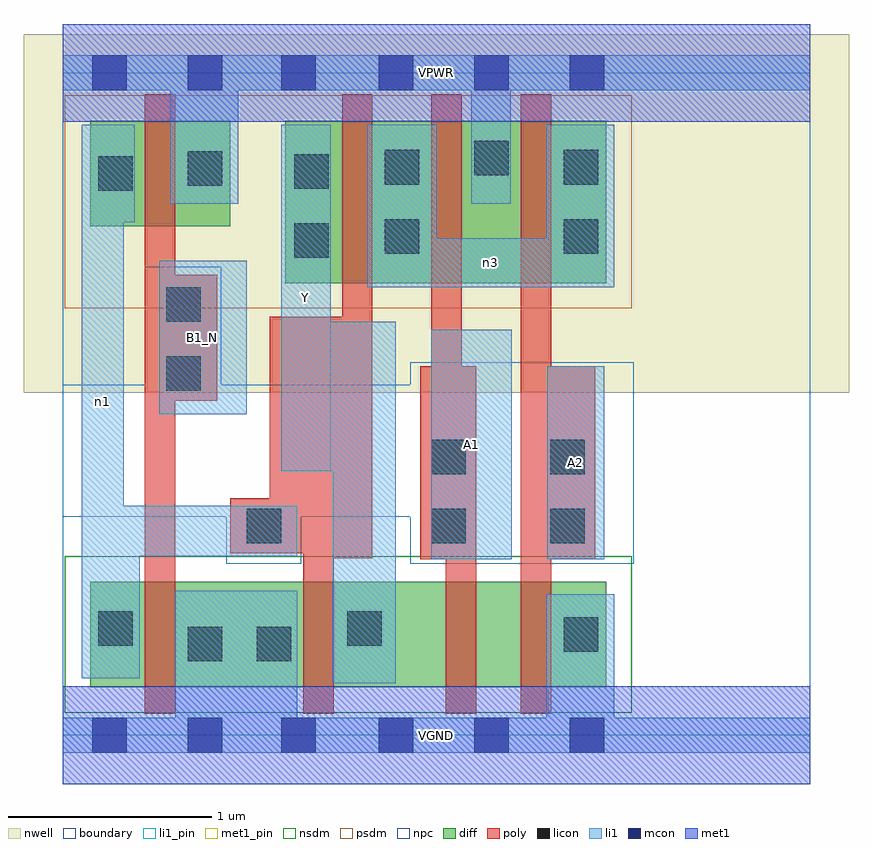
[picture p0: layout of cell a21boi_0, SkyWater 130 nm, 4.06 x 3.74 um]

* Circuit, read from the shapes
.subckt a21boi_0 A1 A2 B1_N VGND VPWR Y n1 n3
XM1 VGND B1_N n1 VSUBS sky130_fd_pr__nfet_01v8 w=0.52 l=0.15
XM2 Y n1 VGND VSUBS sky130_fd_pr__nfet_01v8 w=0.52 l=0.15
XM3 n2 A1 Y VSUBS sky130_fd_pr__nfet_01v8 w=0.52 l=0.15
XM4 VGND A2 n2 VSUBS sky130_fd_pr__nfet_01v8 w=0.52 l=0.15
XM5 VPWR B1_N n1 n4 sky130_fd_pr__pfet_01v8 w=0.52 l=0.15
XM6 n3 n1 Y n4 sky130_fd_pr__pfet_01v8 w=0.8 l=0.15
XM7 VPWR A1 n3 n4 sky130_fd_pr__pfet_01v8 w=0.8 l=0.15
XM8 n3 A2 VPWR n4 sky130_fd_pr__pfet_01v8 w=0.8 l=0.15
.ends

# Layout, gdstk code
import gdstk
lib = gdstk.Library(unit=1e-6, precision=1e-09)
def R(c, l, rs):  # rectangles x0, y0, x1, y1
    for r in rs: c.add(gdstk.rectangle(r[:2], r[2:], *l))
def A(c, l, x, y, w, h, nx, ny, dx, dy):  # array of equal rectangles
    R(c, l, [(x+i*dx, y+j*dy, x+i*dx+w, y+j*dy+h) for i in range(nx) for j in range(ny)])
nwell = (64, 20)
diff = (65, 20)
poly = (66, 20)
licon = (66, 44)
li1_pin = (67, 16)
li1 = (67, 20)
mcon = (67, 44)
met1_pin = (68, 16)
met1 = (68, 20)
nsdm = (93, 44)
psdm = (94, 20)
npc = (95, 20)
boundary = (235, 4)

a21boi_0 = lib.new_cell('a21boi_0')
R(a21boi_0, nwell, [(-0.19,1.685,3.87,3.45), (0,1.685,3.68,3.45)])
R(a21boi_0, diff, [(0.135,0.235,2.675,0.755), (1.095,2.225,2.675,3.025), (0.135,2.505,0.825,3.025)])
R(a21boi_0, poly, [(0.405,0.105,0.555,3.155), (1.185,0.105,1.335,2.06), (1.885,0.105,1.965,3.155), (1.885,0.105,2.035,1.815), (2.255,0.105,2.405,3.155), (1.76,0.865,2.035,1.815), (1.815,0.865,1.885,3.155), (2.255,0.865,2.62,1.815), (1.185,0.87,1.525,2.06), (1.375,0.87,1.525,3.155), (0.825,0.895,1.525,1.165), (1.02,1.165,1.525,2.06), (0.405,1.645,0.76,2.265)])
R(a21boi_0, licon, [(0.615,0.365,0.785,0.535), (0.955,0.365,1.125,0.535), (2.465,0.41,2.635,0.58), (0.175,0.44,0.345,0.61), (1.4,0.44,1.57,0.61), (0.905,0.945,1.075,1.115), (1.815,0.945,1.985,1.115), (2.4,0.945,2.57,1.115), (1.815,1.285,1.985,1.455), (2.4,1.285,2.57,1.455), (0.51,1.695,0.68,1.865), (0.51,2.035,0.68,2.205), (1.14,2.35,1.31,2.52), (1.585,2.37,1.755,2.54), (2.465,2.37,2.635,2.54), (0.175,2.68,0.345,2.85), (1.14,2.69,1.31,2.86), (0.615,2.705,0.785,2.875), (1.585,2.71,1.755,2.88), (2.465,2.71,2.635,2.88), (2.025,2.755,2.195,2.925)])
R(a21boi_0, li1_pin, [(1.815,0.865,2.21,1.995), (2.385,0.865,2.665,1.815), (1.075,1.3,1.32,3.005), (0.475,1.58,0.905,2.335)])
R(a21boi_0, li1, [(0,-0.085,3.68,0.085), (0.555,-0.085,1.155,0.71), (2.38,-0.085,2.715,0.695), (1.33,0.255,1.64,2.035), (0.095,0.28,0.3,3.005), (0.095,0.28,0.38,1.13), (1.815,0.865,2.21,1.995), (2.385,0.865,2.665,1.815), (0.095,0.88,1.155,1.13), (1.075,1.3,1.32,3.005), (1.075,1.3,1.64,2.035), (0.475,1.58,0.905,2.335), (1.5,2.205,2.715,2.445), (1.5,2.205,1.84,3.005), (2.38,2.205,2.715,3.005), (0.095,2.525,0.355,3.005), (0.53,2.615,0.865,3.345), (2.01,2.615,2.205,3.345), (0,3.175,3.68,3.345)])
A(a21boi_0, mcon, 1.555, -0.085, 0.17, 0.17, 3, 2, 0.47, 3.26)
R(a21boi_0, mcon, [(0.145,-0.085,0.315,0.085), (0.615,-0.085,0.785,0.085), (1.075,-0.085,1.245,0.085), (0.145,3.175,0.315,3.345), (0.615,3.175,0.785,3.345), (1.075,3.175,1.245,3.345)])
R(a21boi_0, met1_pin, [(0,-0.24,3.68,0.24), (0,3.02,3.68,3.5)])
R(a21boi_0, met1, [(0,-0.24,3.68,0.24), (0,3.02,3.68,3.5)])
R(a21boi_0, nsdm, [(0.01,0.11,2.8,0.88)])
R(a21boi_0, psdm, [(0.01,2.1,2.8,3.15)])
R(a21boi_0, npc, [(0.805,0.845,1.175,1.725), (1.71,0.845,2.81,1.835), (0,1.075,2.81,1.725), (0.405,1.075,0.78,2.305)])
R(a21boi_0, boundary, [(0,0,3.68,3.26)])
a21boi_0.add(gdstk.Label('A1', (2.012,1.43), layer=67, texttype=5))
a21boi_0.add(gdstk.Label('A2', (2.525,1.34), layer=67, texttype=5))
a21boi_0.add(gdstk.Label('B1_N', (0.69,1.957), layer=67, texttype=5))
a21boi_0.add(gdstk.Label('Y', (1.197,2.152), layer=67, texttype=5))
a21boi_0.add(gdstk.Label('n1', (0.197,1.642), layer=67, texttype=5))
a21boi_0.add(gdstk.Label('n3', (2.107,2.325), layer=67, texttype=5))
a21boi_0.add(gdstk.Label('VPWR', (1.84,3.26), layer=68, texttype=5))
a21boi_0.add(gdstk.Label('VGND', (1.84,0), layer=68, texttype=5))
a21boi_0.add(gdstk.Label('A1', (2.012,1.43), layer=67, texttype=16))
a21boi_0.add(gdstk.Label('A2', (2.525,1.34), layer=67, texttype=16))
a21boi_0.add(gdstk.Label('B1_N', (0.69,1.957), layer=67, texttype=16))
a21boi_0.add(gdstk.Label('Y', (1.197,2.152), layer=67, texttype=16))
a21boi_0.add(gdstk.Label('VPWR', (1.84,3.26), layer=68, texttype=16))
a21boi_0.add(gdstk.Label('VGND', (1.84,0), layer=68, texttype=16))

lib.write_gds('a21boi_0.gds')
